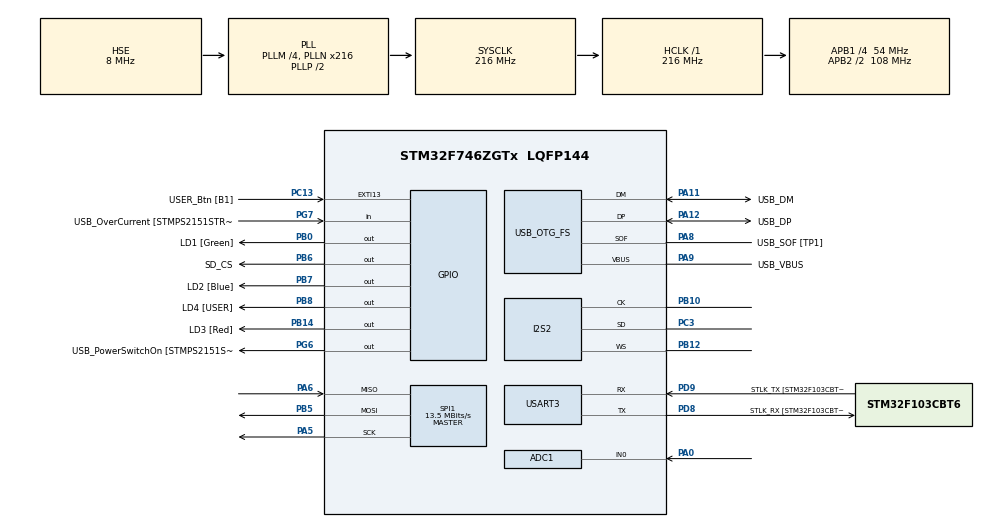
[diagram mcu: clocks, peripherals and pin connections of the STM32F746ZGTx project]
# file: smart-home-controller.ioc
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VP_SYS_VS_tim6.Mode=TIM6
FATFS._USE_LFN=2
SPI1.VirtualType=VM_MASTER
PB10.Mode=Half_Duplex_Master
NVIC.TIM6_DAC_IRQn=true\:0\:0\:false\:false\:true\:false\:false\:true
PB14.GPIO_Label=LD3 [Red]
PG6.GPIO_Label=USB_PowerSwitchOn [STMPS2151STR_EN]
PA14.GPIO_Label=TCK
PB6.GPIO_Label=SD_CS
PB13.Signal=ETH_TXD1
PG13.Signal=ETH_TXD0
RCC.SYSCLKSource=RCC_SYSCLKSOURCE_PLLCLK
USART3.VirtualMode-Asynchronous=VM_ASYNC
SPI1.Direction=SPI_DIRECTION_2LINES
RCC.APB2TimFreq_Value=216000000
Dma.ADC1.0.Direction=DMA_PERIPH_TO_MEMORY
PB6.Signal=GPIO_Output
PH1/OSC_OUT.Signal=RCC_OSC_OUT
SPI1.CalculateBaudRate=13.5 MBits/s
PC3.Signal=I2S2_SD
PD8.Signal=USART3_TX
Dma.ADC1.0.MemDataAlignment=DMA_MDATAALIGN_HALFWORD
NVIC.EXTI15_10_IRQn=true\:5\:0\:false\:false\:true\:true\:true\:true
PC4.GPIO_Label=RMII_RXD0 [LAN8742A-CZ-TR_RXD0]
Dma.ADC1.0.PeriphInc=DMA_PINC_DISABLE
SPI1.DataSize=SPI_DATASIZE_8BIT
PA8.Signal=USB_OTG_FS_SOF
ADC1.SamplingTime-0\#ChannelRegularConversion=ADC_SAMPLETIME_3CYCLES
FATFS._FS_TIMEOUT=100000
Dma.SPI2_TX.1.FIFOMode=DMA_FIFOMODE_DISABLE
Mcu.Package=LQFP144
NVIC.TimeBase=TIM6_DAC_IRQn
NVIC.TimeBaseIP=TIM6
PA10.Signal=USB_OTG_FS_ID
TIM7.AutoReloadPreload=TIM_AUTORELOAD_PRELOAD_DISABLE
Dma.SPI2_TX.1.Instance=DMA1_Stream4
RCC.APB2CLKDivider=RCC_HCLK_DIV2
RCC.APB1TimFreq_Value=108000000
Dma.ADC1.0.FIFOMode=DMA_FIFOMODE_DISABLE
PA5.Mode=Full_Duplex_Master
Dma.SPI2_TX.1.MemInc=DMA_MINC_ENABLE
I2S2.AudioFreq=I2S_AUDIOFREQ_16K
Dma.ADC1.0.Instance=DMA2_Stream0
FREERTOS.Tasks01=defaultTask,24,128,StartDefaultTask,As weak,NULL,Dynamic,NULL,NULL;audioInputTask,48,128,StartAudioInputTask,As weak,NULL,Dynamic,NULL,NULL
ADC1.Rank-0\#ChannelRegularConversion=1
PD9.GPIO_Label=STLK_TX [STM32F103CBT6_PA2]
PC13.Signal=GPXTI13
PA9.GPIO_Label=USB_VBUS
PA11.GPIO_Label=USB_DM
RCC.APB1CLKDivider=RCC_HCLK_DIV4
PG13.GPIO_Label=RMII_TXD0 [LAN8742A-CZ-TR_TXD0]
PB8.GPIO_Label=LD4 [USER]
PA8.GPIO_Label=USB_SOF [TP1]
Dma.ADC1.0.Priority=DMA_PRIORITY_LOW
PA9.Signal=USB_OTG_FS_VBUS
I2S2.VirtualMode=I2S_MODE_MASTER
PD8.Mode=Asynchronous
PB10.Signal=I2S2_CK
PB14.Signal=GPIO_Output
PA5.Signal=SPI1_SCK
Dma.SPI2_TX.1.PeriphDataAlignment=DMA_PDATAALIGN_HALFWORD
RCC.PRESCALERUSB=RCC_USBCLKSOURCE_PLL_DIV1_5
SPI1.Mode=SPI_MODE_MASTER
Dma.SPI2_TX.1.Priority=DMA_PRIORITY_LOW
PG7.GPIO_Label=USB_OverCurrent [STMPS2151STR_FAULT]
PA1.GPIO_Label=RMII_REF_CLK [LAN8742A-CZ-TR_REFCLK0]
ADC1.DMAContinuousRequests=ENABLE
PA13.Mode=Serial_Wire
I2S2.FullDuplexMode=I2S_FULLDUPLEXMODE_DISABLE
PB5.Signal=SPI1_MOSI
ADC1.master=1
PA11.Signal=USB_OTG_FS_DM
ProjectManager.HeapSize=0x200
NVIC.PriorityGroup=NVIC_PRIORITYGROUP_4
PC15/OSC32_OUT.Signal=RCC_OSC32_OUT
PA8.Mode=Activate_SOF_FS
PB0.Signal=GPIO_Output
Dma.SPI2_TX.1.MemDataAlignment=DMA_MDATAALIGN_HALFWORD
PC1.Signal=ETH_MDC
Mcu.Family=STM32F7
PC3.Mode=Half_Duplex_Master
PA6.Mode=Full_Duplex_Master
RCC.CortexFreq_Value=216000000
PG6.Signal=GPIO_Output
ADC1.ContinuousConvMode=ENABLE
RCC.SYSCLKSourceVirtual=RCC_SYSCLKSOURCE_PLLCLK
Dma.SPI2_TX.1.PeriphInc=DMA_PINC_DISABLE
PA11.Mode=Device_Only
PA0/WKUP.Signal=ADCx_IN0
PC14/OSC32_IN.Mode=LSE-External-Oscillator
PB0.GPIO_Label=LD1 [Green]
PC13.GPIO_Label=USER_Btn [B1]
PB13.GPIO_Label=RMII_TXD1 [LAN8742A-CZ-TR_TXD1]
NVIC.DMA1_Stream4_IRQn=true\:5\:0\:false\:false\:true\:true\:false\:true
PD9.Mode=Asynchronous
PG11.Signal=ETH_TX_EN
ProjectManager.StackSize=0x400
VP_FREERTOS_VS_CMSIS_V2.Mode=CMSIS_V2
VP_TIM7_VS_ClockSourceINT.Mode=Enable_Timer
PA12.Signal=USB_OTG_FS_DP
PH0/OSC_IN.Mode=HSE-External-Oscillator
RCC.HCLKFreq_Value=216000000
TIM7.Period=6749
NVIC.DMA2_Stream0_IRQn=true\:10\:0\:true\:false\:true\:true\:false\:true
RCC.AHBFreq_Value=216000000
ADC1.Channel-0\#ChannelRegularConversion=ADC_CHANNEL_0
RCC.HSE_VALUE=8000000
RCC.PLLMUL=RCC_PLL_MUL9
PA14.Mode=Serial_Wire
PB5.Mode=Full_Duplex_Master
PA10.GPIO_Label=USB_ID
PB7.Signal=GPIO_Output
SH.ADCx_IN0.0=ADC1_IN0,IN0
PH1/OSC_OUT.Mode=HSE-External-Oscillator
TIM7.TIM_MasterOutputTrigger=TIM_TRGO_UPDATE
PB7.GPIO_Label=LD2 [Blue]
PA6.Signal=SPI1_MISO
PB12.Mode=Half_Duplex_Master
Dma.SPI2_TX.1.Mode=DMA_CIRCULAR
PC14/OSC32_IN.Signal=RCC_OSC32_IN
PA2.GPIO_Label=RMII_MDIO [LAN8742A-CZ-TR_MDIO]
USB_OTG_FS.VirtualMode=Device_Only
Dma.Request1=SPI2_TX
PG11.GPIO_Label=RMII_TX_EN [LAN8742A-CZ-TR_TXEN]
PC5.Signal=ETH_RXD1
Dma.Request0=ADC1
SPI1.BaudRatePrescaler=SPI_BAUDRATEPRESCALER_8
NVIC.TIM7_IRQn=true\:5\:0\:false\:false\:true\:true\:true\:true
PB3.GPIO_Label=SW0
FATFS._FS_REENTRANT=0
PG7.Signal=GPIO_Input
I2S2.Instance=SPI$Index
FATFS._USE_MUTEX=0
PC4.Signal=ETH_RXD0
PD9.Signal=USART3_RX
PA12.GPIO_Label=USB_DP
PD8.GPIO_Label=STLK_RX [STM32F103CBT6_PA3]
PA13.Signal=SYS_JTMS-SWDIO
Dma.ADC1.0.PeriphDataAlignment=DMA_PDATAALIGN_HALFWORD
PA9.Mode=Activate_VBUS
ProjectManager.TargetToolchain=STM32CubeIDE
Dma.ADC1.0.Mode=DMA_CIRCULAR
RCC.USBFreq_Value=48000000
PA1.Signal=ETH_REF_CLK
VP_FATFS_VS_Generic.Mode=User_defined
board=NUCLEO-F746ZG
Dma.SPI2_TX.1.Direction=DMA_MEMORY_TO_PERIPH
RCC.VCOOutputFreq_Value=432000000
PH0/OSC_IN.Signal=RCC_OSC_IN
RCC.APB2Freq_Value=108000000
PC1.GPIO_Label=RMII_MDC [LAN8742A-CZ-TR_MDC]
ADC1.NbrOfConversion=1
Mcu.Name=STM32F746ZGTx
PA2.Signal=ETH_MDIO
PA13.GPIO_Label=TMS
FATFS._MAX_SS=4096
RCC.48MHZClocksFreq_Value=24000000
PB3.Signal=SYS_JTDO-SWO
RCC.SYSCLKFreq_VALUE=216000000
PA7.GPIO_Label=RMII_CRS_DV [LAN8742A-CZ-TR_CRS_DV]
PA12.Mode=Device_Only
I2S2.ErrorAudioFreq=0.0 %
PC5.GPIO_Label=RMII_RXD1 [LAN8742A-CZ-TR_RXD1]
PC15/OSC32_OUT.Mode=LSE-External-Oscillator
PA14.Signal=SYS_JTCK-SWCLK
Dma.ADC1.0.MemInc=DMA_MINC_ENABLE
RCC.HSI_VALUE=16000000
PH0/OSC_IN.GPIO_Label=MCO [STM32F103CBT6_PA8]
RCC.PLLQ=9
ADC1.NbrOfConversionFlag=1
RCC.PLLM=4
RCC.PLLN=216
PB8.Signal=GPIO_Output
RCC.APB1Freq_Value=54000000
I2S2.RealAudioFreq=16.0 KHz
PB12.Signal=I2S2_WS
PA7.Signal=ETH_CRS_DV

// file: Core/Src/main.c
/* USER CODE BEGIN Header */
/**
  ******************************************************************************
  * @file           : main.c
  * @brief          : Main program body
  ******************************************************************************
  * @attention
  *
  * <h2><center>&copy; Copyright (c) 2021 STMicroelectronics.
  * All rights reserved.</center></h2>
  *
  * This software component is licensed by ST under Ultimate Liberty license
  * SLA0044, the "License"; You may not use this file except in compliance with
  * the License. You may obtain a copy of the License at:
  *                             www.st.com/SLA0044
  *
  ******************************************************************************
  */
/* USER CODE END Header */
#include "main.h"
#include "cmsis_os.h"
#include "adc.h"
#include "dma.h"
#include "fatfs.h"
#include "i2s.h"
#include "spi.h"
#include "tim.h"
#include "usart.h"
#include "usb_otg.h"
#include "gpio.h"

/* USER CODE BEGIN Includes */
#include "stdio.h"
#include "string.h"
#include "fatfs_sd.h"
#include "wavlib.h"

#define ARM_MATH_CM7
#include "arm_math.h"
/* USER CODE END Includes */

/* USER CODE BEGIN PD */
#define USE_FULL_ASSERT
#define ADC_BUFFER_SIZE 1
#define BLOCK_SIZE		1
/* USER CODE END PD */

/* USER CODE BEGIN PV */

/*

FIR filter designed with
http://t-filter.appspot.com

sampling frequency: 2000 Hz

* 0 Hz - 400 Hz
  gain = 1
  desired ripple = 5 dB
  actual ripple = 4.1393894966071585 dB

* 500 Hz - 1000 Hz
  gain = 0
  desired attenuation = -40 dB
  actual attenuation = -40.07355419274887 dB

*/

#define FILTER_TAP_NUM	29

static float32_t filter_taps[FILTER_TAP_NUM] = {

		-0.0018225230f, -0.0015879294f, +0.0000000000f, +0.0036977508f, +0.0080754303f,

	    +0.0085302217f, -0.0000000000f, -0.0173976984f, -0.0341458607f, -0.0333591565f,

	    +0.0000000000f, +0.0676308395f, +0.1522061835f, +0.2229246956f, +0.2504960933f,

	    +0.2229246956f, +0.1522061835f, +0.0676308395f, +0.0000000000f, -0.0333591565f,

	    -0.0341458607f, -0.0173976984f, -0.0000000000f, +0.0085302217f, +0.0080754303f,

	    +0.0036977508f, +0.0000000000f, -0.0015879294f, -0.0018225230f};

// FIR DECLARATIONS
arm_fir_instance_f32 FilterSettings;
static float32_t firState[BLOCK_SIZE + FILTER_TAP_NUM - 1];
uint32_t blockSize = BLOCK_SIZE;

float32_t signal_in = 0;
float32_t signal_out = 0;

// DMA AND SD FILE SYSTEM DECLARATIONS
volatile uint16_t adc_buff[ADC_BUFFER_SIZE];

uint16_t raw;

FATFS fs;
FIL fil;
FRESULT fresult;
UINT br, bw;

FATFS *pfs;
DWORD fre_clust;
uint32_t total, free_space;

int32_t fc = 3 * SAMPLE_RATE;
int32_t dc = -1;

uint16_t buffer[3 * SAMPLE_RATE];

wavfile_header_t header;
PCM16_stereo_t sample;

int IS_RECORDING = 0;

char filename[10];
int file_count = 0;

/* USER CODE END PV */

void SystemClock_Config(void);
void MX_FREERTOS_Init(void);

/* USER CODE BEGIN 0 */
extern void initialise_monitor_handles(void);

uint16_t to_u16(uint16_t value) {
//	return ((value << 4) & (uint16_t)0xFFF0) | ((value >> 8) & (uint16_t)0x000F);
	return value << 4;
}

void closeFile()
{
  fresult = f_close(&fil);
  if (fresult != FR_OK)
    printf("Error Closing File | Code: %d\n", fresult);
  else
    printf("┃  ┗━ WAV File Write Success.\n");
  return;
}
/* USER CODE END 0 */

int main(void)
{
  /* USER CODE BEGIN 1 */
  initialise_monitor_handles();
  printf("┏━ Boot Complete...\n");
  /* USER CODE END 1 */

  /* MCU Configuration--------------------------------------------------------*/

  /* Reset of all peripherals, Initializes the Flash interface and the Systick. */
  HAL_Init();

  /* Configure the system clock */
  SystemClock_Config();

  /* Initialize all configured peripherals */
  MX_GPIO_Init();
  MX_DMA_Init();
  MX_USART3_UART_Init();
  MX_USB_OTG_FS_PCD_Init();
  MX_ADC1_Init();
  MX_SPI1_Init();
  MX_FATFS_Init();
  MX_I2S2_Init();
  MX_TIM7_Init();
  /* USER CODE BEGIN 2 */
  printf("┣━ Firmware Init Complete...\n");

//  FIR INIT
  arm_fir_init_f32(&FilterSettings, FILTER_TAP_NUM, (float32_t *)&filter_taps[0], (float32_t *)&firState[0], blockSize);
  printf("┣━ FIR Low Pass Filter Init Complete...\n");

  // Mount SD Card
  fresult = f_mount(&fs, "", 1);
  if (fresult != FR_OK)
    printf("██ Error Mounting SD Card | Code: %d\n", fresult);
  else
    printf("┣━ SD Card Mounted Successfully...\n");

  f_getfree("", &fre_clust, &pfs);
  total = (uint32_t)((pfs->n_fatent - 2) * pfs->csize * 0.5);
  free_space = (uint32_t)(fre_clust * pfs->csize * 0.5);
  printf("┃  ┣━ Total Size: %lu MiB\n", total/1024);
  printf("┃  ┗━ Free Space: %lu MiB\n", free_space/1024);

  /* USER CODE END 2 */

  /* Init scheduler */
  osKernelInitialize();  /* Call init function for freertos objects (in freertos.c) */
  MX_FREERTOS_Init();
  /* Start scheduler */
  osKernelStart();

  /* We should never get here as control is now taken by the scheduler */
  /* Infinite loop */
  while (1)
  {

  }
}

void SystemClock_Config(void)
{
  RCC_OscInitTypeDef RCC_OscInitStruct = {0};
  RCC_ClkInitTypeDef RCC_ClkInitStruct = {0};
  RCC_PeriphCLKInitTypeDef PeriphClkInitStruct = {0};

  /** Configure LSE Drive Capability
  */
  HAL_PWR_EnableBkUpAccess();
  /** Configure the main internal regulator output voltage
  */
  __HAL_RCC_PWR_CLK_ENABLE();
  __HAL_PWR_VOLTAGESCALING_CONFIG(PWR_REGULATOR_VOLTAGE_SCALE1);
  /** Initializes the RCC Oscillators according to the specified parameters
  * in the RCC_OscInitTypeDef structure.
  */
  RCC_OscInitStruct.OscillatorType = RCC_OSCILLATORTYPE_HSE;
  RCC_OscInitStruct.HSEState = RCC_HSE_ON;
  RCC_OscInitStruct.PLL.PLLState = RCC_PLL_ON;
  RCC_OscInitStruct.PLL.PLLSource = RCC_PLLSOURCE_HSE;
  RCC_OscInitStruct.PLL.PLLM = 4;
  RCC_OscInitStruct.PLL.PLLN = 216;
  RCC_OscInitStruct.PLL.PLLP = RCC_PLLP_DIV2;
  RCC_OscInitStruct.PLL.PLLQ = 9;
  if (HAL_RCC_OscConfig(&RCC_OscInitStruct) != HAL_OK)
  {
    Error_Handler();
  }
  /** Activate the Over-Drive mode
  */
  if (HAL_PWREx_EnableOverDrive() != HAL_OK)
  {
    Error_Handler();
  }
  /** Initializes the CPU, AHB and APB buses clocks
  */
  RCC_ClkInitStruct.ClockType = RCC_CLOCKTYPE_HCLK|RCC_CLOCKTYPE_SYSCLK
                              |RCC_CLOCKTYPE_PCLK1|RCC_CLOCKTYPE_PCLK2;
  RCC_ClkInitStruct.SYSCLKSource = RCC_SYSCLKSOURCE_PLLCLK;
  RCC_ClkInitStruct.AHBCLKDivider = RCC_SYSCLK_DIV1;
  RCC_ClkInitStruct.APB1CLKDivider = RCC_HCLK_DIV4;
  RCC_ClkInitStruct.APB2CLKDivider = RCC_HCLK_DIV2;

  if (HAL_RCC_ClockConfig(&RCC_ClkInitStruct, FLASH_LATENCY_7) != HAL_OK)
  {
    Error_Handler();
  }
  PeriphClkInitStruct.PeriphClockSelection = RCC_PERIPHCLK_USART3|RCC_PERIPHCLK_I2S
                              |RCC_PERIPHCLK_CLK48;
  PeriphClkInitStruct.PLLI2S.PLLI2SN = 192;
  PeriphClkInitStruct.PLLI2S.PLLI2SP = RCC_PLLP_DIV2;
  PeriphClkInitStruct.PLLI2S.PLLI2SR = 2;
  PeriphClkInitStruct.PLLI2S.PLLI2SQ = 2;
  PeriphClkInitStruct.PLLI2SDivQ = 1;
  PeriphClkInitStruct.I2sClockSelection = RCC_I2SCLKSOURCE_PLLI2S;
  PeriphClkInitStruct.Usart3ClockSelection = RCC_USART3CLKSOURCE_PCLK1;
  PeriphClkInitStruct.Clk48ClockSelection = RCC_CLK48SOURCE_PLL;
  if (HAL_RCCEx_PeriphCLKConfig(&PeriphClkInitStruct) != HAL_OK)
  {
    Error_Handler();
  }
}

/* USER CODE BEGIN 4 */

void StartDefaultTask(void *argument) {
	for(;;) {
		HAL_GPIO_TogglePin(GPIOB, GPIO_PIN_7);
		osDelay(500);
	}
}

void StartAudioInputTask(void *argument) {
	printf("┣━ Microphone Interrupt Setup Complete...\n");
	for(;;) {
	}
}

void HAL_ADC_ConvCpltCallback(ADC_HandleTypeDef *hadc)
{
  if (dc < 0) {
	  dc++;
  }
}

void HAL_GPIO_EXTI_Callback(uint16_t GPIO_Pin) {
	if(GPIO_Pin == GPIO_PIN_13 && IS_RECORDING == 0) // If The INT Source Is EXTI Line9 (A9 Pin)
	{
		printf("┣━ Start Record Interrupt Received...\r\n");
		printf("┃  ┣━ Starting WAV Write...\r\n");
		sprintf(filename, "rec%d.wav", file_count);
		f_open(&fil, filename, FA_OPEN_ALWAYS | FA_WRITE);
		header = get_PCM16_stereo_header(SAMPLE_RATE, fc);
		fresult = f_write(&fil, &header, sizeof(wavfile_header_t), &bw);
		if (fresult != FR_OK)
		printf("Error Writing Header to SD Card | Code: %d\n", fresult);
		else
		printf("┃  ┣━ Wrote WAV Header to File\n");
		f_sync(&fil);
		HAL_TIM_Base_Start_IT(&htim7);
		HAL_GPIO_TogglePin(GPIOB, GPIO_PIN_14);
		IS_RECORDING = 1;
		printf("┃  ┣━ ADC Started. Recording...\r\n");
		HAL_ADC_Start_DMA(&hadc1, (uint32_t *)adc_buff, ADC_BUFFER_SIZE);
	}
}
/* USER CODE END 4 */

 /**
  * @brief  Period elapsed callback in non blocking mode
  * @note   This function is called  when TIM6 interrupt took place, inside
  * HAL_TIM_IRQHandler(). It makes a direct call to HAL_IncTick() to increment
  * a global variable "uwTick" used as application time base.
  * @param  htim : TIM handle
  * @retval None
  */
void HAL_TIM_PeriodElapsedCallback(TIM_HandleTypeDef *htim)
{
  if (htim->Instance == TIM6) {
    HAL_IncTick();
  }
  /* USER CODE BEGIN Callback 1 */
  if (htim->Instance == TIM7) {
	  if (dc > -1 && IS_RECORDING == 1) {
		  if (dc < fc) {
//			signal_in = (float32_t)to_u16(adc_buff[0]);
//			arm_fir_f32(&FilterSettings, &signal_in, &signal_out, blockSize);
			buffer[dc - 1] = (adc_buff[0] < 1975 || adc_buff[0] > 2125) ? to_u16(adc_buff[0]) : 0;
			dc++;
		  } else {
			  HAL_TIM_Base_Stop_IT(&htim7);
			  HAL_ADC_Stop_DMA(&hadc1);
			  printf("┃  ┣━ ADC Halted.\n");
			  printf("┃  ┣━ Start buffer dump to SD Card.\n");
			  for (int i = 0; i < fc; i++) {
				  sample.left = buffer[i];
				  sample.right = sample.left;
				  fresult = f_write(&fil, &sample, sizeof(PCM16_stereo_t), &bw);
				  if (fresult != FR_OK)
					  printf("Error Writing to SD Card | Code: %d\n", fresult);
			  }
			  printf("┃  ┣━ %s Dump Write Complete.\n", filename);
			  closeFile();
			  dc = 0;
			  file_count++;
			  IS_RECORDING = 0;
			  HAL_GPIO_TogglePin(GPIOB, GPIO_PIN_14);
		  }
	  }
  }
  /* USER CODE END Callback 1 */
}

void Error_Handler(void)
{
  __disable_irq();
  while (1)
  {
  }
}

#ifdef  USE_FULL_ASSERT
/**
  * @brief  Reports the name of the source file and the source line number
  *         where the assert_param error has occurred.
  * @param  file: pointer to the source file name
  * @param  line: assert_param error line source number
  * @retval None
  */
void assert_failed(uint8_t *file, uint32_t line)
{
  /* USER CODE BEGIN 6 */
  /* User can add his own implementation to report the file name and line number,
     ex: printf("Wrong parameters value: file %s on line %d\r\n", file, line) */
	printf("Error: file %s on line %lu\r\n", file, line);
  /* USER CODE END 6 */
}
#endif /* USE_FULL_ASSERT */

/************************ (C) COPYRIGHT STMicroelectronics *****END OF FILE****/

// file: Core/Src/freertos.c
/* USER CODE BEGIN Header */
/**
  ******************************************************************************
  * File Name          : freertos.c
  * Description        : Code for freertos applications
  ******************************************************************************
  * @attention
  *
  * <h2><center>&copy; Copyright (c) 2021 STMicroelectronics.
  * All rights reserved.</center></h2>
  *
  * This software component is licensed by ST under Ultimate Liberty license
  * SLA0044, the "License"; You may not use this file except in compliance with
  * the License. You may obtain a copy of the License at:
  *                             www.st.com/SLA0044
  *
  ******************************************************************************
  */
/* USER CODE END Header */

#include "FreeRTOS.h"
#include "task.h"
#include "main.h"
#include "cmsis_os.h"

/* Definitions for defaultTask */
osThreadId_t defaultTaskHandle;
const osThreadAttr_t defaultTask_attributes = {
  .name = "defaultTask",
  .stack_size = 128 * 4,
  .priority = (osPriority_t) osPriorityNormal,
};
/* Definitions for audioInputTask */
osThreadId_t audioInputTaskHandle;
const osThreadAttr_t audioInputTask_attributes = {
  .name = "audioInputTask",
  .stack_size = 128 * 4,
  .priority = (osPriority_t) osPriorityRealtime,
};

void StartDefaultTask(void *argument);
void StartAudioInputTask(void *argument);

void MX_FREERTOS_Init(void); /* (MISRA C 2004 rule 8.1) */

void MX_FREERTOS_Init(void) {

  /* Create the thread(s) */
  /* creation of defaultTask */
  defaultTaskHandle = osThreadNew(StartDefaultTask, NULL, &defaultTask_attributes);

  /* creation of audioInputTask */
  audioInputTaskHandle = osThreadNew(StartAudioInputTask, NULL, &audioInputTask_attributes);

}

__weak void StartDefaultTask(void *argument)
{
  for(;;)
  {
    osDelay(1);
  }
}

__weak void StartAudioInputTask(void *argument)
{
  for(;;)
  {
    osDelay(1);
  }
}

/************************ (C) COPYRIGHT STMicroelectronics *****END OF FILE****/
